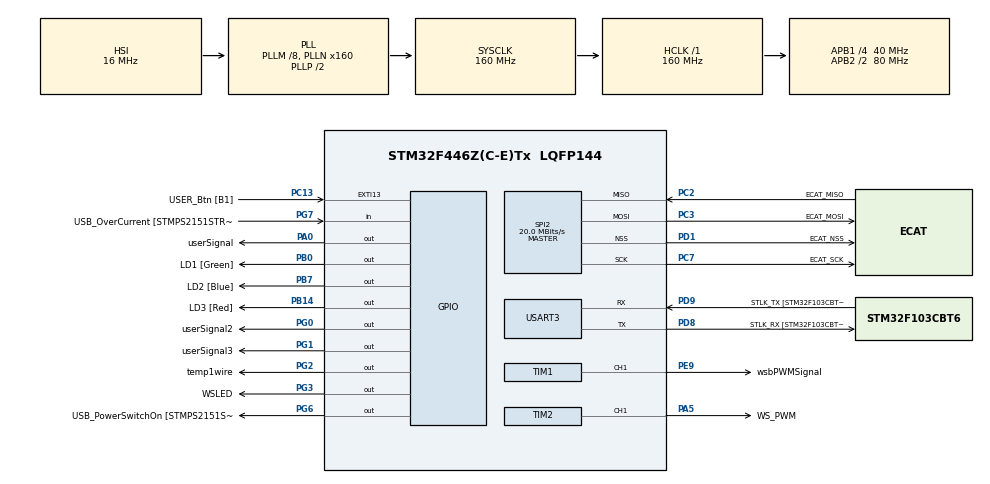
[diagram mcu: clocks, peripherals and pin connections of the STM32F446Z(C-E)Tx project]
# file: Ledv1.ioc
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Dma.Request0=TIM1_CH1
Dma.Request1=SPI2_RX
Dma.Request2=SPI2_TX
Dma.SPI2_RX.1.Direction=DMA_PERIPH_TO_MEMORY
Dma.SPI2_RX.1.FIFOMode=DMA_FIFOMODE_DISABLE
Dma.SPI2_RX.1.Instance=DMA1_Stream3
Dma.SPI2_RX.1.MemDataAlignment=DMA_MDATAALIGN_BYTE
Dma.SPI2_RX.1.MemInc=DMA_MINC_ENABLE
Dma.SPI2_RX.1.Mode=DMA_NORMAL
Dma.SPI2_RX.1.PeriphDataAlignment=DMA_PDATAALIGN_BYTE
Dma.SPI2_RX.1.PeriphInc=DMA_PINC_DISABLE
Dma.SPI2_RX.1.Priority=DMA_PRIORITY_LOW
Dma.SPI2_TX.2.Direction=DMA_MEMORY_TO_PERIPH
Dma.SPI2_TX.2.FIFOMode=DMA_FIFOMODE_DISABLE
Dma.SPI2_TX.2.Instance=DMA1_Stream4
Dma.SPI2_TX.2.MemDataAlignment=DMA_MDATAALIGN_BYTE
Dma.SPI2_TX.2.MemInc=DMA_MINC_ENABLE
Dma.SPI2_TX.2.Mode=DMA_NORMAL
Dma.SPI2_TX.2.PeriphDataAlignment=DMA_PDATAALIGN_BYTE
Dma.SPI2_TX.2.PeriphInc=DMA_PINC_DISABLE
Dma.SPI2_TX.2.Priority=DMA_PRIORITY_LOW
Dma.TIM1_CH1.0.Direction=DMA_MEMORY_TO_PERIPH
Dma.TIM1_CH1.0.FIFOMode=DMA_FIFOMODE_DISABLE
Dma.TIM1_CH1.0.Instance=DMA2_Stream1
Dma.TIM1_CH1.0.MemDataAlignment=DMA_MDATAALIGN_HALFWORD
Dma.TIM1_CH1.0.MemInc=DMA_MINC_ENABLE
Dma.TIM1_CH1.0.Mode=DMA_NORMAL
Dma.TIM1_CH1.0.PeriphDataAlignment=DMA_PDATAALIGN_HALFWORD
Dma.TIM1_CH1.0.PeriphInc=DMA_PINC_DISABLE
Dma.TIM1_CH1.0.Priority=DMA_PRIORITY_MEDIUM
FREERTOS.Tasks01=temperatureT,24,128,runTemperature,Default,NULL,Static,temperatureTBuffer,temperatureTControlBlock;refreshWS2812,8,128,refreshRing,Default,NULL,Static,refreshWS2812Buffer,refreshWS2812ControlBlock;blinkLED,23,128,blinkingLED,Default,NULL,Static,blinkLEDBuffer,blinkLEDControlBlock
Mcu.Family=STM32F4
Mcu.Name=STM32F446Z(C-E)Tx
Mcu.Package=LQFP144
NVIC.DMA1_Stream3_IRQn=true\:5\:0\:false\:false\:true\:true\:false\:true
NVIC.DMA1_Stream4_IRQn=true\:5\:0\:false\:false\:true\:true\:false\:true
NVIC.DMA2_Stream1_IRQn=true\:5\:0\:false\:false\:true\:true\:false\:true
NVIC.PriorityGroup=NVIC_PRIORITYGROUP_4
NVIC.SPI2_IRQn=true\:5\:0\:false\:false\:true\:true\:true\:true
NVIC.TIM1_TRG_COM_TIM11_IRQn=true\:0\:0\:false\:false\:true\:false\:false\:true
NVIC.TimeBase=TIM1_TRG_COM_TIM11_IRQn
NVIC.TimeBaseIP=TIM11
PA0-WKUP.GPIO_Label=userSignal
PA0-WKUP.GPIO_ModeDefaultOutputPP=GPIO_MODE_OUTPUT_PP
PA0-WKUP.GPIO_PuPd=GPIO_PULLUP
PA0-WKUP.Signal=GPIO_Output
PA10.GPIO_Label=USB_ID
PA10.Signal=USB_OTG_FS_ID
PA11.GPIO_Label=USB_DM
PA11.Signal=USB_OTG_FS_DM
PA12.GPIO_Label=USB_DP
PA12.Signal=USB_OTG_FS_DP
PA13.GPIO_Label=TMS
PA13.Mode=Serial_Wire
PA13.Signal=SYS_JTMS-SWDIO
PA14.GPIO_Label=TCK
PA14.Mode=Serial_Wire
PA14.Signal=SYS_JTCK-SWCLK
PA5.GPIO_Label=WS_PWM
PA5.GPIO_Speed=GPIO_SPEED_FREQ_MEDIUM
PA5.Signal=S_TIM2_CH1_ETR
PA8.GPIO_Label=USB_SOF [TP1]
PA8.Signal=USB_OTG_FS_SOF
PA9.GPIO_Label=USB_VBUS
PA9.Signal=USB_OTG_FS_VBUS
PB0.GPIO_Label=LD1 [Green]
PB0.Signal=GPIO_Output
PB14.GPIO_Label=LD3 [Red]
PB14.Signal=GPIO_Output
PB7.GPIO_Label=LD2 [Blue]
PB7.Signal=GPIO_Output
PC13.GPIO_Label=USER_Btn [B1]
PC13.Signal=GPXTI13
PC14-OSC32_IN.Mode=LSE-External-Oscillator
PC14-OSC32_IN.Signal=RCC_OSC32_IN
PC15-OSC32_OUT.Mode=LSE-External-Oscillator
PC15-OSC32_OUT.Signal=RCC_OSC32_OUT
PC2.GPIO_Label=ECAT_MISO
PC2.Mode=Full_Duplex_Master
PC2.Signal=SPI2_MISO
PC3.GPIO_Label=ECAT_MOSI
PC3.Mode=Full_Duplex_Master
PC3.Signal=SPI2_MOSI
PC7.GPIO_Label=ECAT_SCK
PC7.Mode=Full_Duplex_Master
PC7.Signal=SPI2_SCK
PD1.GPIO_Label=ECAT_NSS
PD1.GPIO_PuPd=GPIO_PULLUP
PD1.Mode=NSS_Signal_Hard_Output
PD1.Signal=SPI2_NSS
PD8.GPIO_Label=STLK_RX [STM32F103CBT6_PA3]
PD8.Mode=Asynchronous
PD8.Signal=USART3_TX
PD9.GPIO_Label=STLK_TX [STM32F103CBT6_PA2]
PD9.Mode=Asynchronous
PD9.Signal=USART3_RX
PE9.GPIO_Label=wsbPWMSignal
PE9.GPIO_Speed=GPIO_SPEED_FREQ_LOW
PE9.Signal=S_TIM1_CH1
PG0.GPIO_Label=userSignal2
PG0.Signal=GPIO_Output
PG1.GPIO_Label=userSignal3
PG1.GPIO_Speed=GPIO_SPEED_FREQ_MEDIUM
PG1.Signal=GPIO_Output
PG2.GPIO_Label=temp1wire
PG2.Signal=GPIO_Output
PG3.GPIO_Label=WSLED
PG3.GPIO_Speed=GPIO_SPEED_FREQ_MEDIUM
PG3.Signal=GPIO_Output
PG6.GPIO_Label=USB_PowerSwitchOn [STMPS2151STR_EN]
PG6.Signal=GPIO_Output
PG7.GPIO_Label=USB_OverCurrent [STMPS2151STR_FAULT]
PG7.Signal=GPIO_Input
PH0-OSC_IN.GPIO_Label=MCO [STM32F103CBT6_PA8]
PH0-OSC_IN.Mode=HSE-External-Clock-Source
PH0-OSC_IN.Signal=RCC_OSC_IN
PH1-OSC_OUT.Mode=HSE-External-Clock-Source
PH1-OSC_OUT.Signal=RCC_OSC_OUT
ProjectManager.HeapSize=0x200
ProjectManager.StackSize=0x400
ProjectManager.TargetToolchain=STM32CubeIDE
RCC.48MHZClocksFreq_Value=24000000
RCC.AHBFreq_Value=160000000
RCC.APB1CLKDivider=RCC_HCLK_DIV4
RCC.APB1Freq_Value=40000000
RCC.APB1TimFreq_Value=80000000
RCC.APB2CLKDivider=RCC_HCLK_DIV2
RCC.APB2Freq_Value=80000000
RCC.APB2TimFreq_Value=160000000
RCC.CortexFreq_Value=160000000
RCC.HCLKFreq_Value=160000000
RCC.HSE_VALUE=8000000
RCC.HSI_VALUE=16000000
RCC.PLLM=8
RCC.PLLMUL=RCC_PLL_MUL9
RCC.PLLN=160
RCC.PLLQ=5
RCC.PLLR=4
RCC.PRESCALERUSB=RCC_USBCLKSOURCE_PLL_DIV1_5
RCC.SYSCLKFreq_VALUE=160000000
RCC.SYSCLKSource=RCC_SYSCLKSOURCE_PLLCLK
RCC.SYSCLKSourceVirtual=RCC_SYSCLKSOURCE_PLLCLK
RCC.USBFreq_Value=64000000
RCC.VCOOutputFreq_Value=320000000
SH.S_TIM1_CH1.0=TIM1_CH1,PWM Generation1 CH1
SH.S_TIM2_CH1_ETR.0=TIM2_CH1,PWM Generation1 CH1
SPI2.BaudRatePrescaler=SPI_BAUDRATEPRESCALER_2
SPI2.CalculateBaudRate=20.0 MBits/s
SPI2.Direction=SPI_DIRECTION_2LINES
SPI2.Mode=SPI_MODE_MASTER
SPI2.VirtualNSS=VM_NSSHARD
SPI2.VirtualType=VM_MASTER
TIM1.Channel-PWM\ Generation1\ CH1=TIM_CHANNEL_1
TIM1.Period=100-1
TIM1.RepetitionCounter=0
TIM10.AutoReloadPreload=TIM_AUTORELOAD_PRELOAD_ENABLE
TIM10.Period=0xffff - 1
TIM10.Prescaler=1-1
TIM2.Channel-PWM\ Generation1\ CH1=TIM_CHANNEL_1
TIM2.Period=100-1
TIM2.Prescaler=1-1
TIM6.AutoReloadPreload=TIM_AUTORELOAD_PRELOAD_ENABLE
TIM6.Period=0xffff-1
TIM6.Prescaler=10-1
USART3.VirtualMode=VM_ASYNC
VP_FREERTOS_VS_CMSIS_V2.Mode=CMSIS_V2
VP_SYS_VS_tim11.Mode=TIM11
VP_TIM10_VS_ClockSourceINT.Mode=Enable_Timer
VP_TIM2_VS_ClockSourceINT.Mode=Internal
VP_TIM6_VS_ClockSourceINT.Mode=Enable_Timer
board=NUCLEO-F446ZE

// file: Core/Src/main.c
/* USER CODE BEGIN Header */
/**
  ******************************************************************************
  * @file           : main.c
  * @brief          : Main program body
  ******************************************************************************
  * @attention
  *
  * <h2><center>&copy; Copyright (c) 2020 STMicroelectronics.
  * All rights reserved.</center></h2>
  *
  * This software component is licensed by ST under BSD 3-Clause license,
  * the "License"; You may not use this file except in compliance with the
  * License. You may obtain a copy of the License at:
  *                        opensource.org/licenses/BSD-3-Clause
  *
  ******************************************************************************
  */
/* USER CODE END Header */

#include "main.h"
#include "cmsis_os.h"

/* USER CODE BEGIN Includes */
#include "stdio.h"
#include "userFunctions.h"
#include "LAN9252_spi_temp.h"
//For first attempt
//#include "ws2812.h"
//#include "stripEffects.h"
//For LED second attempt
#include "WS2812_Lib.h"
/* USER CODE END Includes */

typedef StaticTask_t osStaticThreadDef_t;

SPI_HandleTypeDef hspi2;
DMA_HandleTypeDef hdma_spi2_rx;
DMA_HandleTypeDef hdma_spi2_tx;

TIM_HandleTypeDef htim1;
TIM_HandleTypeDef htim2;
TIM_HandleTypeDef htim6;
TIM_HandleTypeDef htim10;
DMA_HandleTypeDef hdma_tim1_ch1;

UART_HandleTypeDef huart3;

/* Definitions for temperatureT */
osThreadId_t temperatureTHandle;
uint32_t temperatureTBuffer[ 128 ];
osStaticThreadDef_t temperatureTControlBlock;
const osThreadAttr_t temperatureT_attributes = {
  .name = "temperatureT",
  .stack_mem = &temperatureTBuffer[0],
  .stack_size = sizeof(temperatureTBuffer),
  .cb_mem = &temperatureTControlBlock,
  .cb_size = sizeof(temperatureTControlBlock),
  .priority = (osPriority_t) osPriorityNormal,
};
/* Definitions for refreshWS2812 */
osThreadId_t refreshWS2812Handle;
uint32_t refreshWS2812Buffer[ 128 ];
osStaticThreadDef_t refreshWS2812ControlBlock;
const osThreadAttr_t refreshWS2812_attributes = {
  .name = "refreshWS2812",
  .stack_mem = &refreshWS2812Buffer[0],
  .stack_size = sizeof(refreshWS2812Buffer),
  .cb_mem = &refreshWS2812ControlBlock,
  .cb_size = sizeof(refreshWS2812ControlBlock),
  .priority = (osPriority_t) osPriorityLow,
};
/* Definitions for blinkLED */
osThreadId_t blinkLEDHandle;
uint32_t blinkLEDBuffer[ 128 ];
osStaticThreadDef_t blinkLEDControlBlock;
const osThreadAttr_t blinkLED_attributes = {
  .name = "blinkLED",
  .stack_mem = &blinkLEDBuffer[0],
  .stack_size = sizeof(blinkLEDBuffer),
  .cb_mem = &blinkLEDControlBlock,
  .cb_size = sizeof(blinkLEDControlBlock),
  .priority = (osPriority_t) osPriorityBelowNormal7,
};
/* USER CODE BEGIN PV */

/*
 * \
 */

/*
 * User defined Threads
 */

/* Definitions for Main Task */	//TODO
osThreadId_t taskManagerHandle;
uint32_t taskManagerBuffer[ 128 ];
osStaticThreadDef_t taskManagerControlBlock;
const osThreadAttr_t taskManager_attributes = {
  .name = "taskManager",
  .stack_mem = &taskManagerBuffer[0],
  .stack_size = sizeof(taskManagerBuffer),
  .cb_mem = &taskManagerControlBlock,
  .cb_size = sizeof(taskManagerControlBlock),
  .priority = (osPriority_t) osPriorityLow,
};

/* Definitions for userSignal3 */
osThreadId_t userSignal3Handle;
uint32_t userSignal3Buffer[ 128 ];
osStaticThreadDef_t userSignal3ControlBlock;
const osThreadAttr_t userSignal3_attributes = {
  .name = "userSignal3",
  .stack_mem = &userSignal3Buffer[0],
  .stack_size = sizeof(userSignal3Buffer),
  .cb_mem = &userSignal3ControlBlock,
  .cb_size = sizeof(userSignal3ControlBlock),
  .priority = (osPriority_t) osPriorityAboveNormal,
};

/* This thread sets the LED effect */
osThreadId_t ledEffectHandle;
uint32_t ledEffectBuffer[ 128 ];
osStaticThreadDef_t ledEffectControlBlock;
const osThreadAttr_t ledEffect_attributes = {
  .name = "ledEffect",
  .stack_mem = &ledEffectBuffer[0],
  .stack_size = sizeof(ledEffectBuffer),
  .cb_mem = &ledEffectControlBlock,
  .cb_size = sizeof(ledEffectControlBlock),
  .priority = (osPriority_t) osPriorityNormal,
};
/* This thread sets the LED effect */
osThreadId_t ws2812taskHandle;
uint32_t ws2812taskBuffer[ 128 ];
osStaticThreadDef_t ws2812taskControlBlock;
const osThreadAttr_t ws2812task_attributes = {
  .name = "ws2812task",
  .stack_mem = &ws2812taskBuffer[0],
  .stack_size = sizeof(ws2812taskBuffer),
  .cb_mem = &ws2812taskControlBlock,
  .cb_size = sizeof(ws2812taskControlBlock),
  .priority = (osPriority_t) osPriorityAboveNormal1,
};

//functionPrototype
void ledEffect(void *argument);
void userSignal3(void *argument);
void ws2812task(void *argument);

uint8_t count,Temp_byte1,Temp_byte2,tempErrorCounter,errorType;

int16_t temperature;
float temp_float;
extern uint8_t dma_ready, buffer_updated;	//Can this be within the h file?

extern osThreadId_t ecatInitTHandle;
extern const osThreadAttr_t ecatInitT_attributes;

/* USER CODE END PV */

void SystemClock_Config(void);
static void MX_GPIO_Init(void);
static void MX_DMA_Init(void);
static void MX_USART3_UART_Init(void);
static void MX_TIM6_Init(void);
static void MX_TIM10_Init(void);
static void MX_TIM2_Init(void);
static void MX_TIM1_Init(void);
static void MX_SPI2_Init(void);
void runTemperature(void *argument);
void refreshRing(void *argument);
void blinkingLED(void *argument);

/* USER CODE BEGIN 0 */
int _write(int file, char *ptr, int len){
	int i=0;
	for (i=0; i<len; i++){
		ITM_SendChar((*ptr++));
	}
	return len;
}
/* USER CODE END 0 */

int main(void)
{

  /* MCU Configuration--------------------------------------------------------*/

  /* Reset of all peripherals, Initializes the Flash interface and the Systick. */
  HAL_Init();

  /* Configure the system clock */
  SystemClock_Config();

  /* Initialize all configured peripherals */
  MX_GPIO_Init();
  MX_DMA_Init();
  MX_USART3_UART_Init();
  MX_TIM6_Init();
  MX_TIM10_Init();
  MX_TIM2_Init();
  MX_TIM1_Init();
  MX_SPI2_Init();
  /* USER CODE BEGIN 2 */
  printf("initializing...");
  //This is code for SPI
  //hspi4.Instance->CR2 &= ~(1<<SPI_CR2_SSOE_Pos);
  //HAL_GPIO_WritePin(ECAT_SCS_GPIO_Port, ECAT_SCS_Pin, GPIO_PIN_SET);
  //Temperature initialization code
  HAL_TIM_Base_Start(&htim6);

  setPinAsInput();
  HAL_Delay(500);
  count = 0;
  tempErrorCounter = 0;
  errorType = 0;
  //LED initialization code
  HAL_TIM_Base_Start(&htim10);

  initTimerHandlers(&htim6,&htim10,&htim1);
  //HAL_TIM_PWM_Start(&htim2, TIM_CHANNEL_1);
  //htim2.Instance->CCR1 = 50;
  //uncomment for tests in the channel
  //HAL_TIM_PWM_Start(&htim1, TIM_CHANNEL_1);
  //htim1.Instance->CCR1 = 75;

  /* USER CODE END 2 */

  /* Init scheduler */
  osKernelInitialize();

  /* Create the thread(s) */
  /* creation of temperatureT */
  temperatureTHandle = osThreadNew(runTemperature, NULL, &temperatureT_attributes);

  /* creation of refreshWS2812 */
  refreshWS2812Handle = osThreadNew(refreshRing, NULL, &refreshWS2812_attributes);

  /* creation of blinkLED */
  blinkLEDHandle = osThreadNew(blinkingLED, NULL, &blinkLED_attributes);

  /* USER CODE BEGIN RTOS_THREADS */
  /* add threads, ... */
  //Thread for LED effect of first Library attempt
  //userSignal3Handle = osThreadNew(userSignal3, NULL, &userSignal3_attributes);	//TODO NULL should be the PWM timer
  //ledEffectHandle = osThreadNew(ledEffect, NULL, &ledEffect_attributes);
  //Superloop for LED effect of second Library attempt
  ws2812taskHandle = osThreadNew(ws2812task, NULL, &ws2812task_attributes);
  //This belongs to ECAT Development
  ecatInitTHandle = osThreadNew(ecatInitFunc, NULL, &ecatInitT_attributes);

  /* USER CODE END RTOS_THREADS */

  /* Start scheduler */
  osKernelStart();

  /* We should never get here as control is now taken by the scheduler */
  /* Infinite loop */
  while (1)
  {

  }
}

void SystemClock_Config(void)
{
  RCC_OscInitTypeDef RCC_OscInitStruct = {0};
  RCC_ClkInitTypeDef RCC_ClkInitStruct = {0};

  /** Configure the main internal regulator output voltage
  */
  __HAL_RCC_PWR_CLK_ENABLE();
  __HAL_PWR_VOLTAGESCALING_CONFIG(PWR_REGULATOR_VOLTAGE_SCALE1);
  /** Initializes the CPU, AHB and APB busses clocks
  */
  RCC_OscInitStruct.OscillatorType = RCC_OSCILLATORTYPE_HSI;
  RCC_OscInitStruct.HSIState = RCC_HSI_ON;
  RCC_OscInitStruct.HSICalibrationValue = RCC_HSICALIBRATION_DEFAULT;
  RCC_OscInitStruct.PLL.PLLState = RCC_PLL_ON;
  RCC_OscInitStruct.PLL.PLLSource = RCC_PLLSOURCE_HSI;
  RCC_OscInitStruct.PLL.PLLM = 8;
  RCC_OscInitStruct.PLL.PLLN = 160;
  RCC_OscInitStruct.PLL.PLLP = RCC_PLLP_DIV2;
  RCC_OscInitStruct.PLL.PLLQ = 5;
  RCC_OscInitStruct.PLL.PLLR = 4;
  if (HAL_RCC_OscConfig(&RCC_OscInitStruct) != HAL_OK)
  {
    Error_Handler();
  }
  /** Initializes the CPU, AHB and APB busses clocks
  */
  RCC_ClkInitStruct.ClockType = RCC_CLOCKTYPE_HCLK|RCC_CLOCKTYPE_SYSCLK
                              |RCC_CLOCKTYPE_PCLK1|RCC_CLOCKTYPE_PCLK2;
  RCC_ClkInitStruct.SYSCLKSource = RCC_SYSCLKSOURCE_PLLCLK;
  RCC_ClkInitStruct.AHBCLKDivider = RCC_SYSCLK_DIV1;
  RCC_ClkInitStruct.APB1CLKDivider = RCC_HCLK_DIV4;
  RCC_ClkInitStruct.APB2CLKDivider = RCC_HCLK_DIV2;

  if (HAL_RCC_ClockConfig(&RCC_ClkInitStruct, FLASH_LATENCY_5) != HAL_OK)
  {
    Error_Handler();
  }
}

static void MX_SPI2_Init(void)
{

  /* SPI2 parameter configuration*/
  hspi2.Instance = SPI2;
  hspi2.Init.Mode = SPI_MODE_MASTER;
  hspi2.Init.Direction = SPI_DIRECTION_2LINES;
  hspi2.Init.DataSize = SPI_DATASIZE_8BIT;
  hspi2.Init.CLKPolarity = SPI_POLARITY_LOW;
  hspi2.Init.CLKPhase = SPI_PHASE_1EDGE;
  hspi2.Init.NSS = SPI_NSS_HARD_OUTPUT;
  hspi2.Init.BaudRatePrescaler = SPI_BAUDRATEPRESCALER_2;
  hspi2.Init.FirstBit = SPI_FIRSTBIT_MSB;
  hspi2.Init.TIMode = SPI_TIMODE_DISABLE;
  hspi2.Init.CRCCalculation = SPI_CRCCALCULATION_DISABLE;
  hspi2.Init.CRCPolynomial = 10;
  if (HAL_SPI_Init(&hspi2) != HAL_OK)
  {
    Error_Handler();
  }

}

static void MX_TIM1_Init(void)
{

  /* USER CODE BEGIN TIM1_Init 0 */
	//This is for first attempt
	//fillBufferBlack();	//TODO This should be included in the final version of this init function that should be in the library

  /* USER CODE END TIM1_Init 0 */

  TIM_MasterConfigTypeDef sMasterConfig = {0};
  TIM_OC_InitTypeDef sConfigOC = {0};
  TIM_BreakDeadTimeConfigTypeDef sBreakDeadTimeConfig = {0};

  htim1.Instance = TIM1;
  htim1.Init.Prescaler = 0;
  htim1.Init.CounterMode = TIM_COUNTERMODE_UP;
  htim1.Init.Period = 100-1;
  htim1.Init.ClockDivision = TIM_CLOCKDIVISION_DIV1;
  htim1.Init.RepetitionCounter = 0;
  htim1.Init.AutoReloadPreload = TIM_AUTORELOAD_PRELOAD_DISABLE;
  if (HAL_TIM_PWM_Init(&htim1) != HAL_OK)
  {
    Error_Handler();
  }
  sMasterConfig.MasterOutputTrigger = TIM_TRGO_RESET;
  sMasterConfig.MasterSlaveMode = TIM_MASTERSLAVEMODE_DISABLE;
  if (HAL_TIMEx_MasterConfigSynchronization(&htim1, &sMasterConfig) != HAL_OK)
  {
    Error_Handler();
  }
  sConfigOC.OCMode = TIM_OCMODE_PWM1;
  sConfigOC.Pulse = 0;
  sConfigOC.OCPolarity = TIM_OCPOLARITY_HIGH;
  sConfigOC.OCNPolarity = TIM_OCNPOLARITY_HIGH;
  sConfigOC.OCFastMode = TIM_OCFAST_DISABLE;
  sConfigOC.OCIdleState = TIM_OCIDLESTATE_RESET;
  sConfigOC.OCNIdleState = TIM_OCNIDLESTATE_RESET;
  if (HAL_TIM_PWM_ConfigChannel(&htim1, &sConfigOC, TIM_CHANNEL_1) != HAL_OK)
  {
    Error_Handler();
  }
  sBreakDeadTimeConfig.OffStateRunMode = TIM_OSSR_DISABLE;
  sBreakDeadTimeConfig.OffStateIDLEMode = TIM_OSSI_DISABLE;
  sBreakDeadTimeConfig.LockLevel = TIM_LOCKLEVEL_OFF;
  sBreakDeadTimeConfig.DeadTime = 0;
  sBreakDeadTimeConfig.BreakState = TIM_BREAK_DISABLE;
  sBreakDeadTimeConfig.BreakPolarity = TIM_BREAKPOLARITY_HIGH;
  sBreakDeadTimeConfig.AutomaticOutput = TIM_AUTOMATICOUTPUT_DISABLE;
  if (HAL_TIMEx_ConfigBreakDeadTime(&htim1, &sBreakDeadTimeConfig) != HAL_OK)
  {
    Error_Handler();
  }
  HAL_TIM_MspPostInit(&htim1);

}

static void MX_TIM2_Init(void)
{

  TIM_ClockConfigTypeDef sClockSourceConfig = {0};
  TIM_MasterConfigTypeDef sMasterConfig = {0};
  TIM_OC_InitTypeDef sConfigOC = {0};

  htim2.Instance = TIM2;
  htim2.Init.Prescaler = 1-1;
  htim2.Init.CounterMode = TIM_COUNTERMODE_UP;
  htim2.Init.Period = 100-1;
  htim2.Init.ClockDivision = TIM_CLOCKDIVISION_DIV1;
  htim2.Init.AutoReloadPreload = TIM_AUTORELOAD_PRELOAD_DISABLE;
  if (HAL_TIM_Base_Init(&htim2) != HAL_OK)
  {
    Error_Handler();
  }
  sClockSourceConfig.ClockSource = TIM_CLOCKSOURCE_INTERNAL;
  if (HAL_TIM_ConfigClockSource(&htim2, &sClockSourceConfig) != HAL_OK)
  {
    Error_Handler();
  }
  if (HAL_TIM_PWM_Init(&htim2) != HAL_OK)
  {
    Error_Handler();
  }
  sMasterConfig.MasterOutputTrigger = TIM_TRGO_RESET;
  sMasterConfig.MasterSlaveMode = TIM_MASTERSLAVEMODE_DISABLE;
  if (HAL_TIMEx_MasterConfigSynchronization(&htim2, &sMasterConfig) != HAL_OK)
  {
    Error_Handler();
  }
  sConfigOC.OCMode = TIM_OCMODE_PWM1;
  sConfigOC.Pulse = 0;
  sConfigOC.OCPolarity = TIM_OCPOLARITY_HIGH;
  sConfigOC.OCFastMode = TIM_OCFAST_DISABLE;
  if (HAL_TIM_PWM_ConfigChannel(&htim2, &sConfigOC, TIM_CHANNEL_1) != HAL_OK)
  {
    Error_Handler();
  }
  HAL_TIM_MspPostInit(&htim2);

}

static void MX_TIM6_Init(void)
{

  TIM_MasterConfigTypeDef sMasterConfig = {0};

  htim6.Instance = TIM6;
  htim6.Init.Prescaler = 10-1;
  htim6.Init.CounterMode = TIM_COUNTERMODE_UP;
  htim6.Init.Period = 0xffff-1;
  htim6.Init.AutoReloadPreload = TIM_AUTORELOAD_PRELOAD_ENABLE;
  if (HAL_TIM_Base_Init(&htim6) != HAL_OK)
  {
    Error_Handler();
  }
  sMasterConfig.MasterOutputTrigger = TIM_TRGO_RESET;
  sMasterConfig.MasterSlaveMode = TIM_MASTERSLAVEMODE_DISABLE;
  if (HAL_TIMEx_MasterConfigSynchronization(&htim6, &sMasterConfig) != HAL_OK)
  {
    Error_Handler();
  }

}

static void MX_TIM10_Init(void)
{

  htim10.Instance = TIM10;
  htim10.Init.Prescaler = 1-1;
  htim10.Init.CounterMode = TIM_COUNTERMODE_UP;
  htim10.Init.Period = 0xffff - 1;
  htim10.Init.ClockDivision = TIM_CLOCKDIVISION_DIV1;
  htim10.Init.AutoReloadPreload = TIM_AUTORELOAD_PRELOAD_ENABLE;
  if (HAL_TIM_Base_Init(&htim10) != HAL_OK)
  {
    Error_Handler();
  }

}

static void MX_USART3_UART_Init(void)
{

  huart3.Instance = USART3;
  huart3.Init.BaudRate = 115200;
  huart3.Init.WordLength = UART_WORDLENGTH_8B;
  huart3.Init.StopBits = UART_STOPBITS_1;
  huart3.Init.Parity = UART_PARITY_NONE;
  huart3.Init.Mode = UART_MODE_TX_RX;
  huart3.Init.HwFlowCtl = UART_HWCONTROL_NONE;
  huart3.Init.OverSampling = UART_OVERSAMPLING_16;
  if (HAL_UART_Init(&huart3) != HAL_OK)
  {
    Error_Handler();
  }

}

static void MX_DMA_Init(void)
{

  /* DMA controller clock enable */
  __HAL_RCC_DMA2_CLK_ENABLE();
  __HAL_RCC_DMA1_CLK_ENABLE();

  /* DMA interrupt init */
  /* DMA1_Stream3_IRQn interrupt configuration */
  HAL_NVIC_SetPriority(DMA1_Stream3_IRQn, 5, 0);
  HAL_NVIC_EnableIRQ(DMA1_Stream3_IRQn);
  /* DMA1_Stream4_IRQn interrupt configuration */
  HAL_NVIC_SetPriority(DMA1_Stream4_IRQn, 5, 0);
  HAL_NVIC_EnableIRQ(DMA1_Stream4_IRQn);
  /* DMA2_Stream1_IRQn interrupt configuration */
  HAL_NVIC_SetPriority(DMA2_Stream1_IRQn, 5, 0);
  HAL_NVIC_EnableIRQ(DMA2_Stream1_IRQn);

}

static void MX_GPIO_Init(void)
{
  GPIO_InitTypeDef GPIO_InitStruct = {0};

  /* GPIO Ports Clock Enable */
  __HAL_RCC_GPIOC_CLK_ENABLE();
  __HAL_RCC_GPIOH_CLK_ENABLE();
  __HAL_RCC_GPIOA_CLK_ENABLE();
  __HAL_RCC_GPIOB_CLK_ENABLE();
  __HAL_RCC_GPIOG_CLK_ENABLE();
  __HAL_RCC_GPIOE_CLK_ENABLE();
  __HAL_RCC_GPIOD_CLK_ENABLE();

  /*Configure GPIO pin Output Level */
  HAL_GPIO_WritePin(userSignal_GPIO_Port, userSignal_Pin, GPIO_PIN_RESET);

  /*Configure GPIO pin Output Level */
  HAL_GPIO_WritePin(GPIOB, LD1_Pin|LD3_Pin|LD2_Pin, GPIO_PIN_RESET);

  /*Configure GPIO pin Output Level */
  HAL_GPIO_WritePin(GPIOG, userSignal2_Pin|userSignal3_Pin|temp1wire_Pin|WSLED_Pin
                          |USB_PowerSwitchOn_Pin, GPIO_PIN_RESET);

  /*Configure GPIO pin : USER_Btn_Pin */
  GPIO_InitStruct.Pin = USER_Btn_Pin;
  GPIO_InitStruct.Mode = GPIO_MODE_IT_RISING;
  GPIO_InitStruct.Pull = GPIO_NOPULL;
  HAL_GPIO_Init(USER_Btn_GPIO_Port, &GPIO_InitStruct);

  /*Configure GPIO pin : userSignal_Pin */
  GPIO_InitStruct.Pin = userSignal_Pin;
  GPIO_InitStruct.Mode = GPIO_MODE_OUTPUT_PP;
  GPIO_InitStruct.Pull = GPIO_PULLUP;
  GPIO_InitStruct.Speed = GPIO_SPEED_FREQ_LOW;
  HAL_GPIO_Init(userSignal_GPIO_Port, &GPIO_InitStruct);

  /*Configure GPIO pins : LD1_Pin LD3_Pin LD2_Pin */
  GPIO_InitStruct.Pin = LD1_Pin|LD3_Pin|LD2_Pin;
  GPIO_InitStruct.Mode = GPIO_MODE_OUTPUT_PP;
  GPIO_InitStruct.Pull = GPIO_NOPULL;
  GPIO_InitStruct.Speed = GPIO_SPEED_FREQ_LOW;
  HAL_GPIO_Init(GPIOB, &GPIO_InitStruct);

  /*Configure GPIO pins : userSignal2_Pin temp1wire_Pin USB_PowerSwitchOn_Pin */
  GPIO_InitStruct.Pin = userSignal2_Pin|temp1wire_Pin|USB_PowerSwitchOn_Pin;
  GPIO_InitStruct.Mode = GPIO_MODE_OUTPUT_PP;
  GPIO_InitStruct.Pull = GPIO_NOPULL;
  GPIO_InitStruct.Speed = GPIO_SPEED_FREQ_LOW;
  HAL_GPIO_Init(GPIOG, &GPIO_InitStruct);

  /*Configure GPIO pins : userSignal3_Pin WSLED_Pin */
  GPIO_InitStruct.Pin = userSignal3_Pin|WSLED_Pin;
  GPIO_InitStruct.Mode = GPIO_MODE_OUTPUT_PP;
  GPIO_InitStruct.Pull = GPIO_NOPULL;
  GPIO_InitStruct.Speed = GPIO_SPEED_FREQ_MEDIUM;
  HAL_GPIO_Init(GPIOG, &GPIO_InitStruct);

  /*Configure GPIO pin : USB_OverCurrent_Pin */
  GPIO_InitStruct.Pin = USB_OverCurrent_Pin;
  GPIO_InitStruct.Mode = GPIO_MODE_INPUT;
  GPIO_InitStruct.Pull = GPIO_NOPULL;
  HAL_GPIO_Init(USB_OverCurrent_GPIO_Port, &GPIO_InitStruct);

  /*Configure GPIO pins : USB_SOF_Pin USB_ID_Pin USB_DM_Pin USB_DP_Pin */
  GPIO_InitStruct.Pin = USB_SOF_Pin|USB_ID_Pin|USB_DM_Pin|USB_DP_Pin;
  GPIO_InitStruct.Mode = GPIO_MODE_AF_PP;
  GPIO_InitStruct.Pull = GPIO_NOPULL;
  GPIO_InitStruct.Speed = GPIO_SPEED_FREQ_VERY_HIGH;
  GPIO_InitStruct.Alternate = GPIO_AF10_OTG_FS;
  HAL_GPIO_Init(GPIOA, &GPIO_InitStruct);

  /*Configure GPIO pin : USB_VBUS_Pin */
  GPIO_InitStruct.Pin = USB_VBUS_Pin;
  GPIO_InitStruct.Mode = GPIO_MODE_INPUT;
  GPIO_InitStruct.Pull = GPIO_NOPULL;
  HAL_GPIO_Init(USB_VBUS_GPIO_Port, &GPIO_InitStruct);

}

void runTemperature(void *argument)
{
  /* USER CODE BEGIN 5 */
  /* Infinite loop */
  for(;;)
  {

	  uint8_t Temp_byte1,Temp_byte2;
	  int16_t temp_intArray[10];
	  float temp_floatArray[10];
	  char numberString[7];
	  printf("Temperature Task Loop\n");

	  printf("Temperature will finish\n");
	  osThreadTerminate(temperatureTHandle);

	  if(startOneWire() == -1)
	  	  tempErrorCounter++;
	  //userDelayUs(1, usTimerHandler);
	  osDelay(1);

	  writeOneWire (0xCC);  // skip ROM
	  writeOneWire (0x44);  // convert t
	  osDelay(760);

	  if(startOneWire() == -1)
	  	  tempErrorCounter++;
	  osDelay(1);
	  writeOneWire (0xCC);  // skip ROM
	  writeOneWire (0xBE);  // Read Scratch-pad

	  Temp_byte1 = readOneWire();
	  Temp_byte2 = readOneWire();

	  temperature = (Temp_byte2<<8) | Temp_byte1;
	  temp_float = (float)temperature/16;
	  temp_intArray[count] = temperature;
	  temp_floatArray[count] = temp_float;
	  if (float2string(temp_float, numberString)){
		  //HAL_UART_Transmit(&huart3, numberString, 7, 500);
		  printf("%s \n",numberString);//("T: %3.2f\n",temp_float);
	  }
	  //printf("T: %d\n", temp_intArray[count]);//("T: %3.2f\n",temp_float);
	  count++;
	  if (count > 20)
		  count = 0;

	  if (tempErrorCounter > 10)
		  __NOP();

	  //if (float2string(temp_float, numberString))
		  //HAL_UART_Transmit(&huart3, numberString, 7, 500);

	 // else
		  //HAL_UART_Transmit(&huart3, &"nope\n", 7, 500);
	  //printf("Temperature Task Loop End\n");
	  osDelay(240);	//Completes the 1s period of measures
  }
  /* USER CODE END 5 */
}

void refreshRing(void *argument)
{
  /* USER CODE BEGIN refreshRing */
  /* Infinite loop */
  for(;;)
  {
	if(dma_ready && buffer_updated)
		startDMA();
	else
		sendError(ERROR_DMA);
    osDelay(WS2812_REFRESH_TIME);
  }
  /* USER CODE END refreshRing */
}

void blinkingLED(void *argument)
{
  /* USER CODE BEGIN blinkingLED */
  /* Infinite loop */
  for(;;)
  {
	  //printf("UserSignal generated \n");
	//HAL_GPIO_TogglePin(userSignal2_GPIO_Port,userSignal2_Pin);
    osDelay(1000);
    //userDelay(100, usTimerHandler);
  }
  /* USER CODE END blinkingLED */
}

 /**
  * @brief  Period elapsed callback in non blocking mode
  * @note   This function is called  when TIM11 interrupt took place, inside
  * HAL_TIM_IRQHandler(). It makes a direct call to HAL_IncTick() to increment
  * a global variable "uwTick" used as application time base.
  * @param  htim : TIM handle
  * @retval None
  */
void HAL_TIM_PeriodElapsedCallback(TIM_HandleTypeDef *htim)
{
  if (htim->Instance == TIM11) {
    HAL_IncTick();
  }
}

void Error_Handler(void)
{
}

/************************ (C) COPYRIGHT STMicroelectronics *****END OF FILE****/
